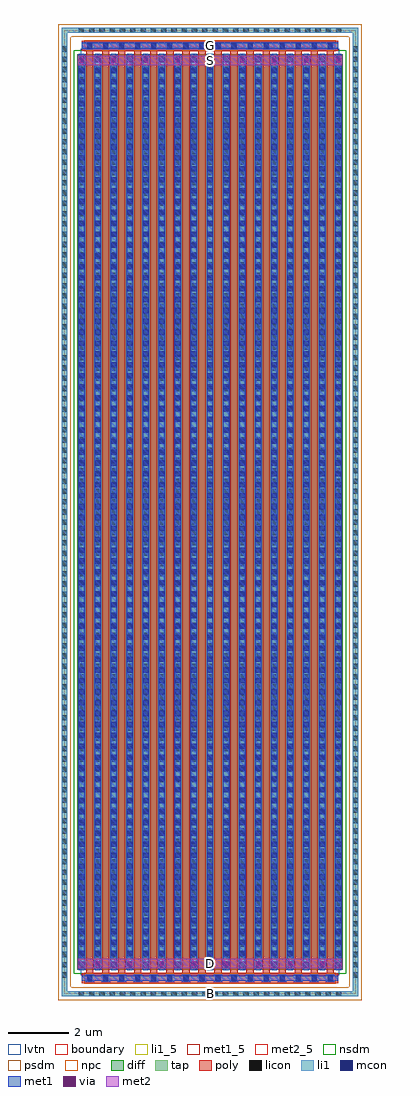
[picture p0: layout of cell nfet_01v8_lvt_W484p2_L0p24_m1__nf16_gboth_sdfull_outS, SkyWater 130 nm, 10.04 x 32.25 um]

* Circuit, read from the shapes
.subckt nfet_01v8_lvt_W484p2_L0p24_m1__nf16_gboth_sdfull_outS B D G S
XM1 D G S B sky130_fd_pr__nfet_01v8_lvt w=30.26 l=0.24 m=16
.ends

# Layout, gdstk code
import gdstk
lib = gdstk.Library(unit=1e-6, precision=1e-09)
def R(c, l, rs):  # rectangles x0, y0, x1, y1
    for r in rs: c.add(gdstk.rectangle(r[:2], r[2:], *l))
def A(c, l, x, y, w, h, nx, ny, dx, dy):  # array of equal rectangles
    R(c, l, [(x+i*dx, y+j*dy, x+i*dx+w, y+j*dy+h) for i in range(nx) for j in range(ny)])
diff = (65, 20)
tap = (65, 44)
poly = (66, 20)
licon = (66, 44)
li1_5 = (67, 5)
li1 = (67, 20)
mcon = (67, 44)
met1_5 = (68, 5)
met1 = (68, 20)
via = (68, 44)
met2_5 = (69, 5)
met2 = (69, 20)
nsdm = (93, 44)
psdm = (94, 20)
npc = (95, 20)
lvtn = (125, 44)
boundary = (235, 4)

sky130_fd_pr__nfet_01v8_ = lib.new_cell('sky130_fd_pr__nfet_01v8_lvt_BC2H8C')
R(sky130_fd_pr__nfet_01v8_, diff, [(-4.385,-15.13,4.385,15.13)])
R(sky130_fd_pr__nfet_01v8_, tap, [(-4.895,-16,4.895,-15.83), (-4.895,-15.83,-4.725,15.83), (4.725,-15.83,4.895,15.83), (-4.895,15.83,4.895,16)])
A(sky130_fd_pr__nfet_01v8_, poly, -4.095, -15.24, 0.24, 30.48, 16, 1, 0.53, 0)
R(sky130_fd_pr__nfet_01v8_, poly, [(-4.24,-15.57,4.24,-15.24), (-4.24,15.24,4.24,15.57)])
A(sky130_fd_pr__nfet_01v8_, licon, -4.335, -16, 0.17, 0.17, 26, 2, 0.34, 31.83)
A(sky130_fd_pr__nfet_01v8_, licon, -4.06, -15.49, 0.17, 0.17, 16, 2, 0.53, 30.81)
A(sky130_fd_pr__nfet_01v8_, licon, -4.895, -15.385, 0.17, 0.17, 1, 91, 0, 0.34)
A(sky130_fd_pr__nfet_01v8_, licon, 4.725, -15.385, 0.17, 0.17, 1, 91, 0, 0.34)
A(sky130_fd_pr__nfet_01v8_, licon, -4.325, -15.045, 0.17, 0.17, 17, 89, 0.53, 0.34)
A(sky130_fd_pr__nfet_01v8_, li1, -4.325, -15.15, 0.17, 30.3, 17, 1, 0.53, 0)
R(sky130_fd_pr__nfet_01v8_, li1, [(-4.895,-16,4.895,-15.83), (-4.895,-15.83,-4.725,15.83), (4.725,-15.83,4.895,15.83), (-4.24,-15.49,4.24,-15.32), (-4.24,15.32,4.24,15.49), (-4.895,15.83,4.895,16)])
A(sky130_fd_pr__nfet_01v8_, mcon, -4.06, -15.49, 0.17, 0.17, 16, 2, 0.53, 30.81)
A(sky130_fd_pr__nfet_01v8_, mcon, -4.325, -15.025, 0.17, 0.17, 17, 84, 0.53, 0.36)
A(sky130_fd_pr__nfet_01v8_, met1, -4.12, -15.52, 0.29, 0.03, 16, 2, 0.53, 0.2)
A(sky130_fd_pr__nfet_01v8_, met1, -4.355, -15.13, 0.23, 30.26, 17, 1, 0.53, 0)
A(sky130_fd_pr__nfet_01v8_, met1, -4.12, 15.29, 0.29, 0.03, 16, 2, 0.53, 0.2)
R(sky130_fd_pr__nfet_01v8_, met1, [(-4.24,-15.49,4.24,-15.32), (-4.24,15.32,4.24,15.49)])
R(sky130_fd_pr__nfet_01v8_, nsdm, [(-4.51,-15.255,4.51,15.255)])
R(sky130_fd_pr__nfet_01v8_, psdm, [(-5.02,-16.125,5.02,-15.705), (-5.02,-15.705,-4.6,15.705), (4.6,-15.705,5.02,15.705), (-5.02,15.705,5.02,16.125)])
R(sky130_fd_pr__nfet_01v8_, npc, [(-4.16,-15.59,4.16,-15.22), (-4.16,15.22,4.16,15.59)])
R(sky130_fd_pr__nfet_01v8_, lvtn, [(-4.275,-15.31,4.275,15.31)])
R(sky130_fd_pr__nfet_01v8_, boundary, [(-4.81,-15.915,4.81,15.915)])
sky130_fd_pr__nfet_01v8_.add(gdstk.Label('B', (0,-15.915), layer=67, texttype=5))
sky130_fd_pr__nfet_01v8_.add(gdstk.Label('D0', (-4.24,0), layer=67, texttype=5))
sky130_fd_pr__nfet_01v8_.add(gdstk.Label('G', (3.975,15.405), layer=67, texttype=5))
sky130_fd_pr__nfet_01v8_.add(gdstk.Label('G', (3.445,15.405), layer=67, texttype=5))
sky130_fd_pr__nfet_01v8_.add(gdstk.Label('G', (2.915,15.405), layer=67, texttype=5))
sky130_fd_pr__nfet_01v8_.add(gdstk.Label('G', (2.385,15.405), layer=67, texttype=5))
sky130_fd_pr__nfet_01v8_.add(gdstk.Label('G', (1.855,15.405), layer=67, texttype=5))
sky130_fd_pr__nfet_01v8_.add(gdstk.Label('G', (1.325,15.405), layer=67, texttype=5))
sky130_fd_pr__nfet_01v8_.add(gdstk.Label('G', (0.795,15.405), layer=67, texttype=5))
sky130_fd_pr__nfet_01v8_.add(gdstk.Label('G', (0.265,15.405), layer=67, texttype=5))
sky130_fd_pr__nfet_01v8_.add(gdstk.Label('G', (-0.265,15.405), layer=67, texttype=5))
sky130_fd_pr__nfet_01v8_.add(gdstk.Label('G', (-0.795,15.405), layer=67, texttype=5))
sky130_fd_pr__nfet_01v8_.add(gdstk.Label('G', (-1.325,15.405), layer=67, texttype=5))
sky130_fd_pr__nfet_01v8_.add(gdstk.Label('G', (-1.855,15.405), layer=67, texttype=5))
sky130_fd_pr__nfet_01v8_.add(gdstk.Label('G', (-2.385,15.405), layer=67, texttype=5))
sky130_fd_pr__nfet_01v8_.add(gdstk.Label('G', (-2.915,15.405), layer=67, texttype=5))
sky130_fd_pr__nfet_01v8_.add(gdstk.Label('G', (-3.445,15.405), layer=67, texttype=5))
sky130_fd_pr__nfet_01v8_.add(gdstk.Label('G', (-3.975,15.405), layer=67, texttype=5))
sky130_fd_pr__nfet_01v8_.add(gdstk.Label('S1', (-3.71,0), layer=67, texttype=5))
sky130_fd_pr__nfet_01v8_.add(gdstk.Label('D2', (-3.18,0), layer=67, texttype=5))
sky130_fd_pr__nfet_01v8_.add(gdstk.Label('S3', (-2.65,0), layer=67, texttype=5))
sky130_fd_pr__nfet_01v8_.add(gdstk.Label('D4', (-2.12,0), layer=67, texttype=5))
sky130_fd_pr__nfet_01v8_.add(gdstk.Label('S5', (-1.59,0), layer=67, texttype=5))
sky130_fd_pr__nfet_01v8_.add(gdstk.Label('D6', (-1.06,0), layer=67, texttype=5))
sky130_fd_pr__nfet_01v8_.add(gdstk.Label('S7', (-0.53,0), layer=67, texttype=5))
sky130_fd_pr__nfet_01v8_.add(gdstk.Label('D8', (0,0), layer=67, texttype=5))
sky130_fd_pr__nfet_01v8_.add(gdstk.Label('S9', (0.53,0), layer=67, texttype=5))
sky130_fd_pr__nfet_01v8_.add(gdstk.Label('D10', (1.06,0), layer=67, texttype=5))
sky130_fd_pr__nfet_01v8_.add(gdstk.Label('S11', (1.59,0), layer=67, texttype=5))
sky130_fd_pr__nfet_01v8_.add(gdstk.Label('D12', (2.12,0), layer=67, texttype=5))
sky130_fd_pr__nfet_01v8_.add(gdstk.Label('S13', (2.65,0), layer=67, texttype=5))
sky130_fd_pr__nfet_01v8_.add(gdstk.Label('D14', (3.18,0), layer=67, texttype=5))
sky130_fd_pr__nfet_01v8_.add(gdstk.Label('S15', (3.71,0), layer=67, texttype=5))

nfet_01v8_lvt_w484p2_l0p = lib.new_cell('nfet_01v8_lvt_W484p2_L0p24_m1__nf16_gboth_sdfull_outS')
R(nfet_01v8_lvt_w484p2_l0p, li1_5, [(4.725,-0.085,4.895,0.085)])
R(nfet_01v8_lvt_w484p2_l0p, li1, [(4.725,-0.085,4.895,0.085)])
R(nfet_01v8_lvt_w484p2_l0p, met1_5, [(0.57,31.205,9.05,31.435)])
A(nfet_01v8_lvt_w484p2_l0p, met1, 0.97, 0.835, 0.26, 0.32, 8, 1, 1.06, 0)
A(nfet_01v8_lvt_w484p2_l0p, met1, 0.44, 30.675, 0.26, 0.32, 9, 1, 1.06, 0)
R(nfet_01v8_lvt_w484p2_l0p, met1, [(0.57,31.205,9.05,31.435)])
A(nfet_01v8_lvt_w484p2_l0p, via, 1.025, 0.92, 0.15, 0.15, 8, 1, 1.06, 0)
A(nfet_01v8_lvt_w484p2_l0p, via, 0.495, 30.76, 0.15, 0.15, 9, 1, 1.06, 0)
R(nfet_01v8_lvt_w484p2_l0p, met2_5, [(0.435,0.835,9.185,1.155), (0.435,30.675,9.185,30.995)])
R(nfet_01v8_lvt_w484p2_l0p, met2, [(0.435,0.835,9.185,1.155), (0.435,30.675,9.185,30.995)])
nfet_01v8_lvt_w484p2_l0p.add(gdstk.Reference(sky130_fd_pr__nfet_01v8_, (4.81,15.915)))
nfet_01v8_lvt_w484p2_l0p.add(gdstk.Label('S', (4.81,30.835), layer=69, texttype=5))
nfet_01v8_lvt_w484p2_l0p.add(gdstk.Label('D', (4.81,0.995), layer=69, texttype=5))
nfet_01v8_lvt_w484p2_l0p.add(gdstk.Label('G', (4.81,31.32), layer=68, texttype=5))
nfet_01v8_lvt_w484p2_l0p.add(gdstk.Label('B', (4.81,0), layer=67, texttype=5))

lib.write_gds('nfet_01v8_lvt_W484p2_L0p24_m1__nf16_gboth_sdfull_outS.gds')
